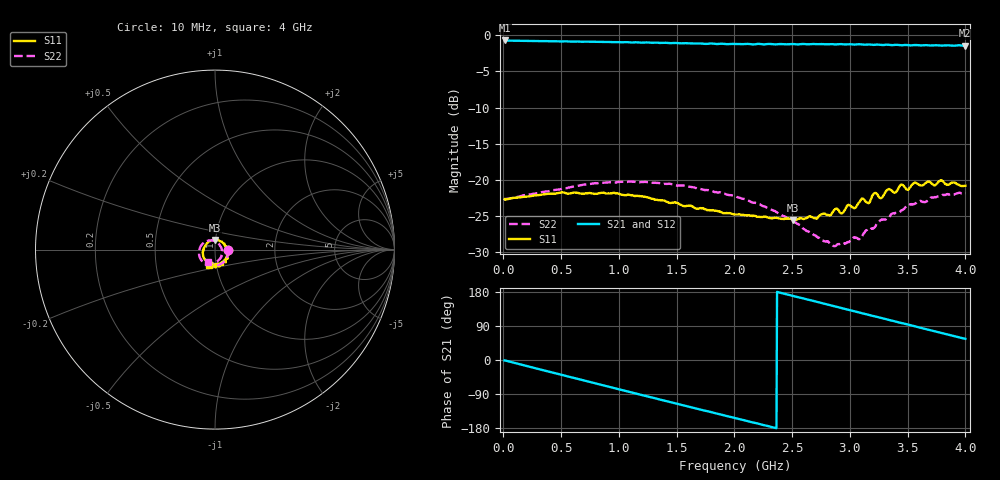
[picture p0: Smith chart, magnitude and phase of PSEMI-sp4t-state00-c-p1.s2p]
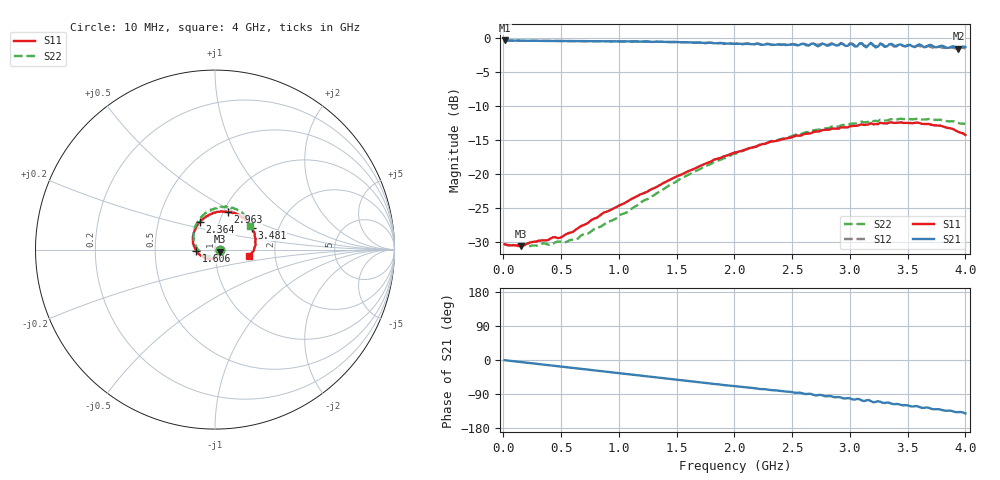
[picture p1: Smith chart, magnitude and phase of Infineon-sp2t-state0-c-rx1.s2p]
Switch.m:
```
%{
DATA available

Data/Infineon-sp4t-state01-c-rx1.s2p
Data/Infineon-sp4t-state01-c-rx2.s2p
Data/Infineon-sp4t-state01-c-rx3.s2p
Data/Infineon-sp4t-state01-c-rx4.s2p
Data/Infineon-sp4t-state01-c-rx5.s2p
Data/Infineon-sp4t-state10-c-rx1.s2p
Data/Infineon-sp4t-state10-c-rx2.s2p

### NOTE: these have been measured with a larger step size,
        therefore they are 201x5 arrays :NOTE ###
Data/Infineon-sp2t-state0-c-rx1.s2p
Data/Infineon-sp2t-state0-c-rx2.s2p
Data/Infineon-sp2t-state0-rx1-rx2.s2p
Data/Infineon-sp2t-state1-c-rx1.s2p
Data/Infineon-sp2t-state1-c-rx1.s2p
Data/Infineon-sp2t-state1-rx1-rx2.s2p

Data/PSEMI-sp4t-state00-c-p1.s2p
Data/PSEMI-sp4t-state00-c-p2.s2p 
Data/PSEMI-sp4t-state00-c-p3.s2p 
Data/PSEMI-sp4t-state00-c-p4.s2p 
Data/PSEMI-sp4t-state01-c-p1.s2p 
Data/PSEMI-sp4t-state01-c-p4.s2p
Data/PSEMI-sp4t-state01-p4-p2.s2p
%}


test = 1;

switch test
    case 0 
        %{
            4x
            2x
            2x
        %}
        %Insertion LOSS calculation
        
        data1 = getSparam('Data/PSEMI-sp4t-state00-c-p1.s2p');
        tmp = sParamToABCD(data1);
        abcd1 = downscale(tmp, 4);
        data2 = getSparam('Data/Infineon-sp2t-state0-c-rx1.s2p');
        abcd2 = sParamToABCD(data2);
        %Convert each switch abcd to single abcd, then to sParam
        abcdtmp = multABCD(abcd1, abcd2);
        abcd = multABCD(abcdtmp, abcd2);
        data = ABCDTosParam(abcd);
        %Plot the data
        plotData(data);
        
        %Isolation LOSS calculation
        data3 = getSparam('Data/PSEMI-sp4t-state00-c-p2.s2p');
        tmp = sParamToABCD(data3);
        abcd3 = downscale(tmp, 4);
        data4 = getSparam('Data/Infineon-sp2t-state0-c-rx2.s2p');
        abcd4 = sParamToABCD(data4);
        
        %Convert each switch abcd to single abcd, then to sParam
        abcdtmp = multABCD(abcd3, abcd4);
        abcd_2 = multABCD(abcdtmp, abcd4);
        data_2 = ABCDTosParam(abcd_2);
        %Plot the data
        plotData(data_2);
        
        
        
        
    case 1
        %{
            4x
            4x
        %}
        %Insertion LOSS calculation
        data1 = getSparam('Data/PSEMI-sp4t-state00-c-p1.s2p');
        abcd1 = sParamToABCD(data1);
        %Convert each switch abcd to single abcd, then to sParam
        abcd = multABCD(abcd1, abcd1);
        data = ABCDTosParam(abcd);
        %Plot the data
        plotData(data);
        
        %Isolation LOSS calculation
        data2 = getSparam('Data/PSEMI-sp4t-state00-c-p2.s2p');
        abcd2 = sParamToABCD(data2);
        %Convert each switch abcd to single abcd, then to sParam
        abcd_2 = multABCD(abcd2, abcd2);
        data_2 = ABCDTosParam(abcd_2);
        %Plot the data
        plotData(data_2);
        
    otherwise
        %do nothing
end
```
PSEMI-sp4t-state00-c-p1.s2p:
! 5/5/2016 4:43:08 PM
! C:\ANRITSUVNA\DATA\PSEMI-SP4T-C-P1.S2P
! CHANNEL.1
! TR.MEASUREMENT
! CORRECTED.DATA
# GHZ S RI R 50.0
! FREQ.GHZ  S11RE  S11IM  S21RE  S21IM  S12RE  S12IM  S22RE  S22IM
!; PortSelection: Port_12
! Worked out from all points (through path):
!   801 points, 10 MHz to 4 GHz, reference 50 ohm
!   highest |S21| = -0.74 dB at 10 MHz (marker M1); lowest = -1.5 dB at 3.995 GHz (marker M2)
!   group delay of S21, straight-line fit = 211 ps
!   lowest |S11| = -25.5 dB at 2.509 GHz (marker M3), VSWR 1.11, Z = 49.5 + j5.25 ohm
!   |S11| at or under -10 dB: start of sweep to end of sweep
!   |S22| runs from -29.1 to -20.2 dB; largest |S21 - S12| = 0.0069
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0.01  0.0735 -0.00341  0.918 -0.0166  0.9176 -0.016  0.0744 -0.00423
0.4489  0.0386 -0.0706  0.743 -0.5202  0.7422 -0.5203  0.0405 -0.0752
1.057375  -0.0528 -0.058  0.131 -0.884  0.1316 -0.8827  -0.061 -0.075
1.511238  -0.0678 -0.0129  -0.3871 -0.7891  -0.386 -0.7904  -0.0891 -0.0206
2.005  -0.0517 0.0257  -0.7749 -0.3924  -0.7722 -0.3942  -0.0706 0.0319
2.508738  -0.00265 0.0529  -0.8514 0.166  -0.8524 0.1632  -0.0117 0.0502
2.867837  0.0522 0.0343  -0.6752 0.5352  -0.6768 0.5357  0.0287 0.0199
3.256862  0.07 -0.0284  -0.3179 0.7967  -0.3194 0.8026  0.0365 -0.0371
3.645888  0.0267 -0.09  0.1097 0.8442  0.1092 0.8429  -0.002 -0.0704
3.995013  -0.0301 -0.086  0.4689 0.7005  0.4713 0.6976  -0.0407 -0.0698
4  -0.0311 -0.0858  0.473 0.6982  0.475 0.6942  -0.0409 -0.0699
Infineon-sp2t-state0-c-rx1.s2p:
! 5/10/2016 1:40:00 PM
! C:\ANRITSUVNA\DATA\INFINEON-SP2T-STATE0-C-RX1.S2P
! CHANNEL.1
! TR.MEASUREMENT
! CORRECTED.DATA
# GHZ S RI R 50.0
! FREQ.GHZ  S11RE  S11IM  S21RE  S21IM  S12RE  S12IM  S22RE  S22IM
!; PortSelection: Port_12
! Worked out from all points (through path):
!   201 points, 10 MHz to 4 GHz, reference 50 ohm
!   highest |S21| = -0.29 dB at 10 MHz (marker M1); lowest = -1.5 dB at 3.94 GHz (marker M2)
!   group delay of S21, straight-line fit = 95.3 ps
!   lowest |S11| = -30.7 dB at 149.7 MHz (marker M3), VSWR 1.06, Z = 52.8 - j1.13 ohm
!   |S11| at or under -10 dB: start of sweep to end of sweep
!   |S22| runs from -30.7 to -11.8 dB; largest |S21 - S12| = 0.039
!   S11 on the Smith chart (normalised r, x): 10 MHz: 1.06, -0.00; 1.606 GHz: 0.81, -0.01; 2.364 GHz: 0.81, +0.26; 2.963 GHz: 1.05, +0.46; 3.481 GHz: 1.46, +0.38; 4 GHz: 1.47, -0.10
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0.01  0.0303 -0.00193  0.9667 -0.0083  0.966 -0.00812  0.0303 -0.00251
0.14965  0.0273 -0.0107  0.9588 -0.0897  0.9585 -0.0895  0.0285 -0.0104
0.62845  0.00909 -0.0379  0.8889 -0.3541  0.8887 -0.3538  0.00507 -0.0325
1.606  -0.1053 -0.00573  0.5274 -0.7723  0.529 -0.774  -0.099 0.00641
2.005  -0.1224 0.0766  0.3259 -0.8525  0.3322 -0.8529  -0.12 0.0746
2.3641  -0.0839 0.1539  0.1509 -0.8876  0.1498 -0.8943  -0.1007 0.1454
2.9626  0.0707 0.2092  -0.1749 -0.8622  -0.1793 -0.8662  0.00794 0.2313
3.18205  0.1376 0.193  -0.2936 -0.8813  -0.3136 -0.8659  0.0612 0.2415
3.4813  0.2047 0.122  -0.4272 -0.7658  -0.4351 -0.7572  0.1299 0.2196
3.94015  0.2035 -0.0199  -0.6201 -0.5702  -0.6186 -0.5681  0.1885 0.1451
4  0.1907 -0.0344  -0.6727 -0.5445  -0.6556 -0.5291  0.1927 0.1321
